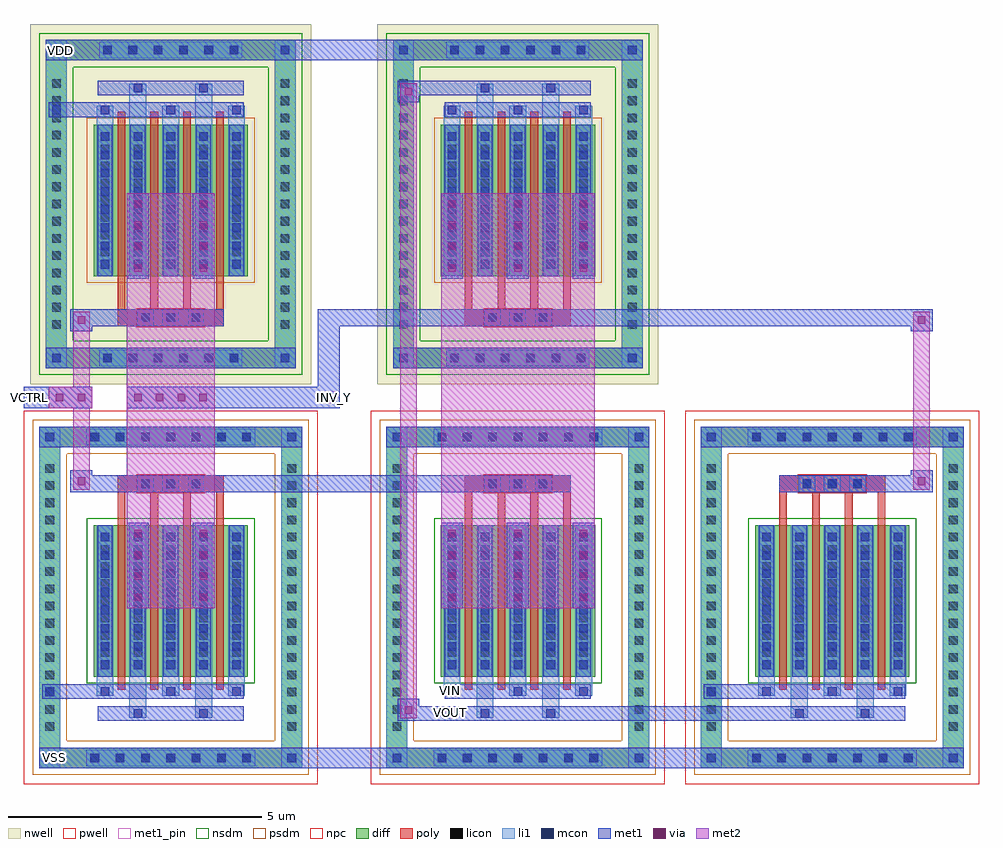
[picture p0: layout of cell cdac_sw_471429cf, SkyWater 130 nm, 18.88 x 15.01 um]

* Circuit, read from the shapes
.subckt cdac_sw_471429cf INV_Y VCTRL VDD VIN VOUT VSS
XM1 INV_Y VCTRL VSS VSUBS sky130_fd_pr__nfet_01v8 w=3 l=0.15 m=4
XM2 VOUT VCTRL VIN VSUBS sky130_fd_pr__nfet_01v8 w=3 l=0.15 m=4
XM3 VOUT INV_Y VSS VSUBS sky130_fd_pr__nfet_01v8 w=3 l=0.15 m=4
XM4 INV_Y VCTRL VDD n1 sky130_fd_pr__pfet_01v8 w=3 l=0.15 m=4
XM5 VOUT INV_Y VIN n2 sky130_fd_pr__pfet_01v8 w=3 l=0.15 m=4
.ends

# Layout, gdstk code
import gdstk
lib = gdstk.Library(unit=1e-6, precision=5e-09)
def R(c, l, rs):  # rectangles x0, y0, x1, y1
    for r in rs: c.add(gdstk.rectangle(r[:2], r[2:], *l))
def A(c, l, x, y, w, h, nx, ny, dx, dy):  # array of equal rectangles
    R(c, l, [(x+i*dx, y+j*dy, x+i*dx+w, y+j*dy+h) for i in range(nx) for j in range(ny)])
def P(c, l, *ps):  # polygons
    for p in ps: c.add(gdstk.Polygon(p, *l))
nwell = (64, 20)
pwell = (64, 44)
diff = (65, 20)
poly = (66, 20)
licon = (66, 44)
li1 = (67, 20)
mcon = (67, 44)
met1_pin = (68, 16)
met1 = (68, 20)
via = (68, 44)
met2 = (69, 20)
nsdm = (93, 44)
psdm = (94, 20)
npc = (95, 20)

cdac_sw_471429cf = lib.new_cell('cdac_sw_471429cf')
R(cdac_sw_471429cf, nwell, [(-2.99,0.395,2.56,7.505), (3.865,0.395,9.415,7.505)])
R(cdac_sw_471429cf, pwell, [(-3.12,-7.505,2.69,-0.135), (3.735,-7.505,9.545,-0.135), (9.945,-7.505,15.755,-0.135)])
A(cdac_sw_471429cf, diff, -1.92, -7.195, 0.41, 0.41, 7, 2, 0.5, 6.34)
A(cdac_sw_471429cf, diff, 4.935, -7.195, 0.41, 0.41, 7, 2, 0.5, 6.34)
A(cdac_sw_471429cf, diff, 11.145, -7.195, 0.41, 0.41, 7, 2, 0.5, 6.34)
A(cdac_sw_471429cf, diff, -2.81, -6.575, 0.41, 0.41, 1, 16, 0, 0.34)
A(cdac_sw_471429cf, diff, 1.97, -6.575, 0.41, 0.41, 1, 16, 0, 0.34)
A(cdac_sw_471429cf, diff, 4.045, -6.575, 0.41, 0.41, 1, 16, 0, 0.34)
A(cdac_sw_471429cf, diff, 8.825, -6.575, 0.41, 0.41, 1, 16, 0, 0.34)
A(cdac_sw_471429cf, diff, 10.255, -6.575, 0.41, 0.41, 1, 16, 0, 0.34)
A(cdac_sw_471429cf, diff, 15.035, -6.575, 0.41, 0.41, 1, 16, 0, 0.34)
A(cdac_sw_471429cf, diff, -1.67, 0.705, 0.41, 0.41, 6, 2, 0.5, 6.08)
A(cdac_sw_471429cf, diff, 5.185, 0.705, 0.41, 0.41, 6, 2, 0.5, 6.08)
A(cdac_sw_471429cf, diff, -2.68, 1.365, 0.41, 0.41, 1, 15, 0, 0.34)
A(cdac_sw_471429cf, diff, 1.84, 1.365, 0.41, 0.41, 1, 15, 0, 0.34)
A(cdac_sw_471429cf, diff, 4.175, 1.365, 0.41, 0.41, 1, 15, 0, 0.34)
A(cdac_sw_471429cf, diff, 8.695, 1.365, 0.41, 0.41, 1, 15, 0, 0.34)
R(cdac_sw_471429cf, diff, [(-1.92,-7.195,1.49,-6.785), (4.935,-7.195,8.345,-6.785), (11.145,-7.195,14.555,-6.785), (-2.81,-6.575,-2.4,-1.065), (1.97,-6.575,2.38,-1.065), (4.045,-6.575,4.455,-1.065), (8.825,-6.575,9.235,-1.065), (10.255,-6.575,10.665,-1.065), (15.035,-6.575,15.445,-1.065), (-1.74,-5.39,1.31,-2.39), (5.115,-5.39,8.165,-2.39), (11.325,-5.39,14.375,-2.39), (-1.92,-0.855,1.49,-0.445), (4.935,-0.855,8.345,-0.445), (11.145,-0.855,14.555,-0.445), (-1.67,0.705,1.24,1.115), (5.185,0.705,8.095,1.115), (-2.68,1.365,-2.27,6.535), (1.84,1.365,2.25,6.535), (4.175,1.365,4.585,6.535), (8.695,1.365,9.105,6.535), (-1.74,2.52,1.31,5.52), (5.115,2.52,8.165,5.52), (-1.67,6.785,1.24,7.195), (5.185,6.785,8.095,7.195)])
P(cdac_sw_471429cf, diff, [(2.25,7.195),(-2.68,7.195),(-2.68,1.115),(-2.27,1.115),(-2.27,6.785),(1.84,6.785),(1.84,1.115),(-2.27,1.115),(-2.68,1.115),(-2.68,0.705),(2.25,0.705)],
  [(2.38,-7.195),(-2.81,-7.195),(-2.81,-0.855),(-2.4,-0.855),(-2.4,-6.785),(1.97,-6.785),(1.97,-0.855),(-2.4,-0.855),(-2.81,-0.855),(-2.81,-0.445),(2.38,-0.445)],
  [(15.445,-7.195),(10.255,-7.195),(10.255,-0.855),(10.665,-0.855),(10.665,-6.785),(15.035,-6.785),(15.035,-0.855),(10.665,-0.855),(10.255,-0.855),(10.255,-0.445),(15.445,-0.445)],
  [(9.105,7.195),(4.175,7.195),(4.175,1.115),(4.585,1.115),(4.585,6.785),(8.695,6.785),(8.695,1.115),(4.585,1.115),(4.175,1.115),(4.175,0.705),(9.105,0.705)],
  [(9.235,-7.195),(4.045,-7.195),(4.045,-0.855),(4.455,-0.855),(4.455,-6.785),(8.825,-6.785),(8.825,-0.855),(4.455,-0.855),(4.045,-0.855),(4.045,-0.445),(9.235,-0.445)])
A(cdac_sw_471429cf, poly, -1.265, -5.64, 0.15, 3.5, 4, 2, 0.65, 7.91)
A(cdac_sw_471429cf, poly, 5.59, -5.64, 0.15, 3.5, 4, 2, 0.65, 7.91)
A(cdac_sw_471429cf, poly, 11.8, -5.64, 0.15, 3.5, 4, 1, 0.65, 0)
A(cdac_sw_471429cf, poly, -1.265, -2.14, 0.15, 0.4, 4, 2, 0.65, 4.01)
A(cdac_sw_471429cf, poly, 5.59, -2.14, 0.15, 0.4, 4, 2, 0.65, 4.01)
A(cdac_sw_471429cf, poly, 11.8, -2.14, 0.15, 0.4, 4, 1, 0.65, 0)
A(cdac_sw_471429cf, poly, -0.88, -1.74, 0.33, 0.33, 3, 2, 0.5, 3.28)
A(cdac_sw_471429cf, poly, 5.975, -1.74, 0.33, 0.33, 3, 2, 0.5, 3.28)
A(cdac_sw_471429cf, poly, 12.185, -1.74, 0.33, 0.33, 3, 1, 0.5, 0)
R(cdac_sw_471429cf, poly, [(-1.265,-1.74,0.835,-1.41), (5.59,-1.74,7.69,-1.41), (11.8,-1.74,13.9,-1.41), (-1.265,1.54,0.835,1.87), (5.59,1.54,7.69,1.87)])
A(cdac_sw_471429cf, licon, -1.8, -7.075, 0.17, 0.17, 7, 2, 0.5, 6.34)
A(cdac_sw_471429cf, licon, 5.055, -7.075, 0.17, 0.17, 7, 2, 0.5, 6.34)
A(cdac_sw_471429cf, licon, 11.265, -7.075, 0.17, 0.17, 7, 2, 0.5, 6.34)
A(cdac_sw_471429cf, licon, -2.69, -6.455, 0.17, 0.17, 1, 16, 0, 0.34)
A(cdac_sw_471429cf, licon, 2.09, -6.455, 0.17, 0.17, 1, 16, 0, 0.34)
A(cdac_sw_471429cf, licon, 4.165, -6.455, 0.17, 0.17, 1, 16, 0, 0.34)
A(cdac_sw_471429cf, licon, 8.945, -6.455, 0.17, 0.17, 1, 16, 0, 0.34)
A(cdac_sw_471429cf, licon, 10.375, -6.455, 0.17, 0.17, 1, 16, 0, 0.34)
A(cdac_sw_471429cf, licon, 15.155, -6.455, 0.17, 0.17, 1, 16, 0, 0.34)
A(cdac_sw_471429cf, licon, -1.6, -4.995, 0.17, 0.17, 5, 7, 0.65, 0.34)
A(cdac_sw_471429cf, licon, 5.255, -4.995, 0.17, 0.17, 5, 7, 0.65, 0.34)
A(cdac_sw_471429cf, licon, 11.465, -4.995, 0.17, 0.17, 5, 7, 0.65, 0.34)
A(cdac_sw_471429cf, licon, -0.8, -1.66, 0.17, 0.17, 3, 2, 0.5, 3.28)
A(cdac_sw_471429cf, licon, 6.055, -1.66, 0.17, 0.17, 3, 2, 0.5, 3.28)
A(cdac_sw_471429cf, licon, 12.265, -1.66, 0.17, 0.17, 3, 1, 0.5, 0)
A(cdac_sw_471429cf, licon, -1.55, 0.825, 0.17, 0.17, 6, 2, 0.5, 6.08)
A(cdac_sw_471429cf, licon, 5.305, 0.825, 0.17, 0.17, 6, 2, 0.5, 6.08)
A(cdac_sw_471429cf, licon, -2.56, 1.485, 0.17, 0.17, 1, 15, 0, 0.34)
A(cdac_sw_471429cf, licon, 1.96, 1.485, 0.17, 0.17, 1, 15, 0, 0.34)
A(cdac_sw_471429cf, licon, 4.295, 1.485, 0.17, 0.17, 1, 15, 0, 0.34)
A(cdac_sw_471429cf, licon, 8.815, 1.485, 0.17, 0.17, 1, 15, 0, 0.34)
A(cdac_sw_471429cf, licon, -1.6, 2.915, 0.17, 0.17, 5, 7, 0.65, 0.34)
A(cdac_sw_471429cf, licon, 5.255, 2.915, 0.17, 0.17, 5, 7, 0.65, 0.34)
A(cdac_sw_471429cf, li1, -1.88, -7.155, 0.33, 0.33, 7, 2, 0.5, 6.34)
A(cdac_sw_471429cf, li1, 4.975, -7.155, 0.33, 0.33, 7, 2, 0.5, 6.34)
A(cdac_sw_471429cf, li1, 11.185, -7.155, 0.33, 0.33, 7, 2, 0.5, 6.34)
A(cdac_sw_471429cf, li1, -2.77, -6.535, 0.33, 0.33, 1, 16, 0, 0.34)
A(cdac_sw_471429cf, li1, 2.01, -6.535, 0.33, 0.33, 1, 16, 0, 0.34)
A(cdac_sw_471429cf, li1, 4.085, -6.535, 0.33, 0.33, 1, 16, 0, 0.34)
A(cdac_sw_471429cf, li1, 8.865, -6.535, 0.33, 0.33, 1, 16, 0, 0.34)
A(cdac_sw_471429cf, li1, 10.295, -6.535, 0.33, 0.33, 1, 16, 0, 0.34)
A(cdac_sw_471429cf, li1, 15.075, -6.535, 0.33, 0.33, 1, 16, 0, 0.34)
A(cdac_sw_471429cf, li1, -1.68, -5.765, 0.33, 0.375, 3, 2, 1.3, 11.285)
A(cdac_sw_471429cf, li1, -1.6, -5.765, 0.17, 0.17, 3, 2, 1.3, 11.49)
A(cdac_sw_471429cf, li1, 5.175, -5.765, 0.33, 0.375, 3, 2, 1.3, 11.285)
A(cdac_sw_471429cf, li1, 5.255, -5.765, 0.17, 0.17, 3, 2, 1.3, 11.49)
A(cdac_sw_471429cf, li1, 11.385, -5.765, 0.33, 0.375, 3, 1, 1.3, 0)
A(cdac_sw_471429cf, li1, 11.465, -5.765, 0.17, 0.17, 3, 1, 1.3, 0)
A(cdac_sw_471429cf, li1, -1.68, -5.39, 0.33, 3, 5, 2, 0.65, 7.91)
A(cdac_sw_471429cf, li1, 5.175, -5.39, 0.33, 3, 5, 2, 0.65, 7.91)
A(cdac_sw_471429cf, li1, 11.385, -5.39, 0.33, 3, 5, 1, 0.65, 0)
A(cdac_sw_471429cf, li1, -1.6, -5.235, 0.17, 0.17, 5, 8, 0.65, 0.36)
A(cdac_sw_471429cf, li1, -1.6, -5.235, 0.17, 2.69, 5, 2, 0.65, 7.91)
A(cdac_sw_471429cf, li1, 5.255, -5.235, 0.17, 0.17, 5, 8, 0.65, 0.36)
A(cdac_sw_471429cf, li1, 5.255, -5.235, 0.17, 2.69, 5, 2, 0.65, 7.91)
A(cdac_sw_471429cf, li1, 11.465, -5.235, 0.17, 0.17, 5, 8, 0.65, 0.36)
A(cdac_sw_471429cf, li1, 11.465, -5.235, 0.17, 2.69, 5, 1, 0.65, 0)
A(cdac_sw_471429cf, li1, -1.68, -5.075, 0.33, 0.33, 5, 7, 0.65, 0.34)
A(cdac_sw_471429cf, li1, 5.175, -5.075, 0.33, 0.33, 5, 7, 0.65, 0.34)
A(cdac_sw_471429cf, li1, 11.385, -5.075, 0.33, 0.33, 5, 7, 0.65, 0.34)
A(cdac_sw_471429cf, li1, -0.88, -1.74, 0.33, 0.33, 3, 2, 0.5, 3.28)
A(cdac_sw_471429cf, li1, 5.975, -1.74, 0.33, 0.33, 3, 2, 0.5, 3.28)
A(cdac_sw_471429cf, li1, 12.185, -1.74, 0.33, 0.33, 3, 1, 0.5, 0)
A(cdac_sw_471429cf, li1, -1.63, 0.745, 0.33, 0.33, 6, 2, 0.5, 6.08)
A(cdac_sw_471429cf, li1, 5.225, 0.745, 0.33, 0.33, 6, 2, 0.5, 6.08)
A(cdac_sw_471429cf, li1, -2.64, 1.405, 0.33, 0.33, 1, 15, 0, 0.34)
A(cdac_sw_471429cf, li1, 1.88, 1.405, 0.33, 0.33, 1, 15, 0, 0.34)
A(cdac_sw_471429cf, li1, 4.215, 1.405, 0.33, 0.33, 1, 15, 0, 0.34)
A(cdac_sw_471429cf, li1, 8.735, 1.405, 0.33, 0.33, 1, 15, 0, 0.34)
A(cdac_sw_471429cf, li1, -1.6, 2.675, 0.17, 0.17, 5, 8, 0.65, 0.36)
A(cdac_sw_471429cf, li1, 5.255, 2.675, 0.17, 0.17, 5, 8, 0.65, 0.36)
A(cdac_sw_471429cf, li1, -1.68, 2.835, 0.33, 0.33, 5, 7, 0.65, 0.34)
A(cdac_sw_471429cf, li1, 5.175, 2.835, 0.33, 0.33, 5, 7, 0.65, 0.34)
R(cdac_sw_471429cf, li1, [(-2.81,-7.195,-2.4,-6.785), (1.97,-7.195,2.38,-6.785), (4.045,-7.195,4.455,-6.785), (8.825,-7.195,9.235,-6.785), (10.255,-7.195,10.665,-6.785), (15.035,-7.195,15.445,-6.785), (-1.88,-7.155,1.45,-6.825), (4.975,-7.155,8.305,-6.825), (11.185,-7.155,14.515,-6.825), (-2.69,-7.075,-2.52,-6.905), (-2.69,-7.075,-2.52,-6.905), (2.09,-7.075,2.26,-6.905), (2.09,-7.075,2.26,-6.905), (4.165,-7.075,4.335,-6.905), (4.165,-7.075,4.335,-6.905), (8.945,-7.075,9.115,-6.905), (8.945,-7.075,9.115,-6.905), (10.375,-7.075,10.545,-6.905), (10.375,-7.075,10.545,-6.905), (15.155,-7.075,15.325,-6.905), (15.155,-7.075,15.325,-6.905), (-2.81,-6.785,-2.4,-0.855), (1.97,-6.785,2.38,-0.855), (4.045,-6.785,4.455,-0.855), (8.825,-6.785,9.235,-0.855), (10.255,-6.785,10.665,-0.855), (15.035,-6.785,15.445,-0.855), (-1.03,-6.195,-0.7,-5.39), (-0.95,-6.195,-0.78,-6.025), (0.27,-6.195,0.6,-5.39), (0.35,-6.195,0.52,-6.025), (5.825,-6.195,6.155,-5.39), (5.905,-6.195,6.075,-6.025), (7.125,-6.195,7.455,-5.39), (7.205,-6.195,7.375,-6.025), (12.035,-6.195,12.365,-5.39), (12.115,-6.195,12.285,-6.025), (13.335,-6.195,13.665,-5.39), (13.415,-6.195,13.585,-6.025), (-2.69,-5.765,-2.52,-5.595), (10.375,-5.765,10.545,-5.595), (-2.81,-0.855,-2.4,-0.445), (1.97,-0.855,2.38,-0.445), (4.045,-0.855,4.455,-0.445), (8.825,-0.855,9.235,-0.445), (10.255,-0.855,10.665,-0.445), (15.035,-0.855,15.445,-0.445), (-1.88,-0.815,1.45,-0.485), (4.975,-0.815,8.305,-0.485), (11.185,-0.815,14.515,-0.485), (-2.69,-0.735,-2.52,-0.565), (-2.69,-0.735,-2.52,-0.565), (2.09,-0.735,2.26,-0.565), (2.09,-0.735,2.26,-0.565), (4.165,-0.735,4.335,-0.565), (4.165,-0.735,4.335,-0.565), (8.945,-0.735,9.115,-0.565), (8.945,-0.735,9.115,-0.565), (10.375,-0.735,10.545,-0.565), (10.375,-0.735,10.545,-0.565), (15.155,-0.735,15.325,-0.565), (15.155,-0.735,15.325,-0.565), (-2.68,0.705,-2.27,1.115), (1.84,0.705,2.25,1.115), (4.175,0.705,4.585,1.115), (8.695,0.705,9.105,1.115), (-1.63,0.745,1.2,1.075), (5.225,0.745,8.055,1.075), (-2.56,0.825,-2.39,0.995), (-2.56,0.825,-2.39,0.995), (1.96,0.825,2.13,0.995), (1.96,0.825,2.13,0.995), (4.295,0.825,4.465,0.995), (4.295,0.825,4.465,0.995), (8.815,0.825,8.985,0.995), (8.815,0.825,8.985,0.995), (-2.68,1.115,-2.27,6.785), (1.84,1.115,2.25,6.785), (4.175,1.115,4.585,6.785), (8.695,1.115,9.105,6.785), (-1.03,5.52,-0.7,6.325), (0.27,5.52,0.6,6.325), (5.825,5.52,6.155,6.325), (7.125,5.52,7.455,6.325), (-2.56,5.725,-2.39,5.895), (-0.95,6.155,-0.78,6.325), (0.35,6.155,0.52,6.325), (5.905,6.155,6.075,6.325), (7.205,6.155,7.375,6.325), (-2.68,6.785,-2.27,7.195), (1.84,6.785,2.25,7.195), (4.175,6.785,4.585,7.195), (8.695,6.785,9.105,7.195), (-1.63,6.825,1.2,7.155), (5.225,6.825,8.055,7.155), (-2.56,6.905,-2.39,7.075), (-2.56,6.905,-2.39,7.075), (1.96,6.905,2.13,7.075), (1.96,6.905,2.13,7.075), (4.295,6.905,4.465,7.075), (4.295,6.905,4.465,7.075), (8.815,6.905,8.985,7.075), (8.815,6.905,8.985,7.075)])
A(cdac_sw_471429cf, mcon, -1.8, -7.075, 0.17, 0.17, 7, 2, 0.5, 6.34)
A(cdac_sw_471429cf, mcon, 5.055, -7.075, 0.17, 0.17, 7, 2, 0.5, 6.34)
A(cdac_sw_471429cf, mcon, 11.265, -7.075, 0.17, 0.17, 7, 2, 0.5, 6.34)
A(cdac_sw_471429cf, mcon, -1.6, -5.765, 0.17, 0.17, 3, 2, 1.3, 11.49)
A(cdac_sw_471429cf, mcon, 5.255, -5.765, 0.17, 0.17, 3, 2, 1.3, 11.49)
A(cdac_sw_471429cf, mcon, 11.465, -5.765, 0.17, 0.17, 3, 1, 1.3, 0)
A(cdac_sw_471429cf, mcon, -1.6, -5.235, 0.17, 0.17, 5, 8, 0.65, 0.36)
A(cdac_sw_471429cf, mcon, 5.255, -5.235, 0.17, 0.17, 5, 8, 0.65, 0.36)
A(cdac_sw_471429cf, mcon, 11.465, -5.235, 0.17, 0.17, 5, 8, 0.65, 0.36)
A(cdac_sw_471429cf, mcon, -0.8, -1.66, 0.17, 0.17, 3, 2, 0.5, 3.28)
A(cdac_sw_471429cf, mcon, 6.055, -1.66, 0.17, 0.17, 3, 2, 0.5, 3.28)
A(cdac_sw_471429cf, mcon, 12.265, -1.66, 0.17, 0.17, 3, 1, 0.5, 0)
A(cdac_sw_471429cf, mcon, -1.55, 0.825, 0.17, 0.17, 6, 2, 0.5, 6.08)
A(cdac_sw_471429cf, mcon, 5.305, 0.825, 0.17, 0.17, 6, 2, 0.5, 6.08)
A(cdac_sw_471429cf, mcon, -1.6, 2.675, 0.17, 0.17, 5, 8, 0.65, 0.36)
A(cdac_sw_471429cf, mcon, 5.255, 2.675, 0.17, 0.17, 5, 8, 0.65, 0.36)
R(cdac_sw_471429cf, mcon, [(-2.69,-7.075,-2.52,-6.905), (2.09,-7.075,2.26,-6.905), (4.165,-7.075,4.335,-6.905), (8.945,-7.075,9.115,-6.905), (10.375,-7.075,10.545,-6.905), (15.155,-7.075,15.325,-6.905), (-0.95,-6.195,-0.78,-6.025), (0.35,-6.195,0.52,-6.025), (5.905,-6.195,6.075,-6.025), (7.205,-6.195,7.375,-6.025), (12.115,-6.195,12.285,-6.025), (13.415,-6.195,13.585,-6.025), (-2.69,-5.765,-2.52,-5.595), (10.375,-5.765,10.545,-5.595), (-2.69,-0.735,-2.52,-0.565), (2.09,-0.735,2.26,-0.565), (4.165,-0.735,4.335,-0.565), (8.945,-0.735,9.115,-0.565), (10.375,-0.735,10.545,-0.565), (15.155,-0.735,15.325,-0.565), (-2.56,0.825,-2.39,0.995), (1.96,0.825,2.13,0.995), (4.295,0.825,4.465,0.995), (8.815,0.825,8.985,0.995), (-2.56,5.725,-2.39,5.895), (-0.95,6.155,-0.78,6.325), (0.35,6.155,0.52,6.325), (5.905,6.155,6.075,6.325), (7.205,6.155,7.375,6.325), (-2.56,6.905,-2.39,7.075), (1.96,6.905,2.13,7.075), (4.295,6.905,4.465,7.075), (8.815,6.905,8.985,7.075)])
R(cdac_sw_471429cf, met1_pin, [(-2.64,-7.11,-2.4,-6.87), (5.195,-6.205,5.435,-5.965), (5.195,-5.775,5.435,-5.535), (-3.12,0.01,-2.88,0.25), (2.88,0.01,3.12,0.25), (-2.51,6.87,-2.27,7.11)])
A(cdac_sw_471429cf, met1, -1.86, -7.135, 0.29, 0.29, 7, 2, 0.5, 6.34)
A(cdac_sw_471429cf, met1, 4.995, -7.135, 0.29, 0.29, 7, 2, 0.5, 6.34)
A(cdac_sw_471429cf, met1, 11.205, -7.135, 0.29, 0.29, 7, 2, 0.5, 6.34)
A(cdac_sw_471429cf, met1, -1.66, -5.825, 0.29, 0.29, 3, 2, 1.3, 11.49)
A(cdac_sw_471429cf, met1, 5.195, -5.825, 0.29, 0.29, 3, 2, 1.3, 11.49)
A(cdac_sw_471429cf, met1, 11.405, -5.825, 0.29, 0.29, 3, 1, 1.3, 0)
A(cdac_sw_471429cf, met1, -1.66, -5.39, 0.29, 3, 5, 2, 0.65, 7.91)
A(cdac_sw_471429cf, met1, 5.195, -5.39, 0.29, 3, 5, 2, 0.65, 7.91)
A(cdac_sw_471429cf, met1, 11.405, -5.39, 0.29, 3, 5, 1, 0.65, 0)
A(cdac_sw_471429cf, met1, -1.66, -5.295, 0.29, 0.29, 5, 8, 0.65, 0.36)
A(cdac_sw_471429cf, met1, 5.195, -5.295, 0.29, 0.29, 5, 8, 0.65, 0.36)
A(cdac_sw_471429cf, met1, 11.405, -5.295, 0.29, 0.29, 5, 8, 0.65, 0.36)
A(cdac_sw_471429cf, met1, -0.86, -1.72, 0.29, 0.29, 3, 2, 0.5, 3.28)
A(cdac_sw_471429cf, met1, 5.995, -1.72, 0.29, 0.29, 3, 2, 0.5, 3.28)
A(cdac_sw_471429cf, met1, 12.205, -1.72, 0.29, 0.29, 3, 1, 0.5, 0)
A(cdac_sw_471429cf, met1, -1.61, 0.765, 0.29, 0.29, 6, 2, 0.5, 6.08)
A(cdac_sw_471429cf, met1, 5.245, 0.765, 0.29, 0.29, 6, 2, 0.5, 6.08)
A(cdac_sw_471429cf, met1, -1.66, 2.615, 0.29, 0.29, 5, 8, 0.65, 0.36)
A(cdac_sw_471429cf, met1, 5.195, 2.615, 0.29, 0.29, 5, 8, 0.65, 0.36)
R(cdac_sw_471429cf, met1, [(-2.81,-7.195,-2.4,-6.785), (-2.81,-7.195,-2.4,-6.785), (-2.4,-7.195,1.97,-6.785), (-2.4,-7.195,4.455,-6.785), (1.97,-7.195,2.38,-6.785), (1.97,-7.195,2.38,-6.785), (4.045,-7.195,4.455,-6.785), (4.045,-7.195,4.455,-6.785), (4.455,-7.195,8.825,-6.785), (4.455,-7.195,10.665,-6.785), (8.825,-7.195,9.235,-6.785), (8.825,-7.195,9.235,-6.785), (10.255,-7.195,10.665,-6.785), (10.255,-7.195,10.665,-6.785), (10.665,-7.195,15.035,-6.785), (15.035,-7.195,15.445,-6.785), (15.035,-7.195,15.445,-6.785), (-2.75,-7.135,-2.46,-6.845), (2.03,-7.135,2.32,-6.845), (4.105,-7.135,4.395,-6.845), (8.885,-7.135,9.175,-6.845), (10.315,-7.135,10.605,-6.845), (15.095,-7.135,15.385,-6.845), (-1.66,-6.255,1.23,-5.965), (-1.01,-6.255,-0.72,-5.965), (0.29,-6.255,0.58,-5.965), (4.265,-6.255,4.695,-5.825), (4.265,-6.255,5.195,-5.965), (5.195,-6.255,8.085,-5.965), (5.845,-6.255,6.135,-5.965), (7.145,-6.255,7.435,-5.965), (8.085,-6.255,14.295,-5.965), (11.405,-6.255,14.295,-5.965), (12.055,-6.255,12.345,-5.965), (13.355,-6.255,13.645,-5.965), (-2.75,-5.825,-2.46,-5.535), (-2.605,-5.825,-1.66,-5.535), (-1.66,-5.825,1.23,-5.535), (5.195,-5.825,8.085,-5.535), (10.315,-5.825,10.605,-5.535), (10.46,-5.825,11.405,-5.535), (11.405,-5.825,14.295,-5.535), (-1.08,-4.035,-0.65,-3.605), (-1.08,-4.035,-0.65,-3.605), (0.22,-4.035,0.65,-3.605), (0.22,-4.035,0.65,-3.605), (5.125,-4.035,5.555,-3.605), (5.125,-4.035,5.555,-3.605), (6.425,-4.035,6.855,-3.605), (6.425,-4.035,6.855,-3.605), (7.725,-4.035,8.155,-3.605), (7.725,-4.035,8.155,-3.605), (-1.08,-3.615,-0.65,-3.185), (-1.08,-3.615,-0.65,-3.185), (0.22,-3.615,0.65,-3.185), (0.22,-3.615,0.65,-3.185), (5.125,-3.615,5.555,-3.185), (5.125,-3.615,5.555,-3.185), (6.425,-3.615,6.855,-3.185), (6.425,-3.615,6.855,-3.185), (7.725,-3.615,8.155,-3.185), (7.725,-3.615,8.155,-3.185), (-1.08,-3.195,-0.65,-2.765), (-1.08,-3.195,-0.65,-2.765), (0.22,-3.195,0.65,-2.765), (0.22,-3.195,0.65,-2.765), (5.125,-3.195,5.555,-2.765), (5.125,-3.195,5.555,-2.765), (6.425,-3.195,6.855,-2.765), (6.425,-3.195,6.855,-2.765), (7.725,-3.195,8.155,-2.765), (7.725,-3.195,8.155,-2.765), (-1.08,-2.775,-0.65,-2.345), (-1.08,-2.775,-0.65,-2.345), (0.22,-2.775,0.65,-2.345), (0.22,-2.775,0.65,-2.345), (5.125,-2.775,5.555,-2.345), (5.125,-2.775,5.555,-2.345), (6.425,-2.775,6.855,-2.345), (6.425,-2.775,6.855,-2.345), (7.725,-2.775,8.155,-2.345), (7.725,-2.775,8.155,-2.345), (-2.195,-1.74,-1.765,-1.31), (-2.195,-1.74,-1.265,-1.41), (-1.265,-1.74,0.835,-1.41), (0.835,-1.74,5.59,-1.41), (5.59,-1.74,7.69,-1.41), (11.8,-1.74,13.9,-1.41), (13.9,-1.74,14.83,-1.41), (14.4,-1.74,14.83,-1.31), (-2.81,-0.855,-2.4,-0.445), (-2.81,-0.855,-2.4,-0.445), (-2.4,-0.855,1.97,-0.445), (1.97,-0.855,2.38,-0.445), (1.97,-0.855,2.38,-0.445), (4.045,-0.855,4.455,-0.445), (4.045,-0.855,4.455,-0.445), (4.455,-0.855,8.825,-0.445), (8.825,-0.855,9.235,-0.445), (8.825,-0.855,9.235,-0.445), (10.255,-0.855,10.665,-0.445), (10.255,-0.855,10.665,-0.445), (10.665,-0.855,15.035,-0.445), (15.035,-0.855,15.445,-0.445), (15.035,-0.855,15.445,-0.445), (-2.75,-0.795,-2.46,-0.505), (2.03,-0.795,2.32,-0.505), (4.105,-0.795,4.395,-0.505), (8.885,-0.795,9.175,-0.505), (10.315,-0.795,10.605,-0.505), (15.095,-0.795,15.385,-0.505), (-3.12,-0.085,-2.195,0.345), (-2.625,-0.085,-2.195,0.345), (-2.625,-0.085,-2.195,0.345), (-2.195,-0.085,-1.765,0.345), (-2.195,-0.085,-1.765,0.345), (-1.08,-0.085,-0.65,0.345), (-1.08,-0.085,-0.65,0.345), (-1.08,-0.085,3.12,0.345), (-0.65,-0.085,-0.22,0.345), (-0.65,-0.085,-0.22,0.345), (-0.22,-0.085,0.21,0.345), (-0.22,-0.085,0.21,0.345), (0.21,-0.085,0.64,0.345), (0.21,-0.085,0.64,0.345), (2.69,0.13,3.12,1.87), (-2.68,0.705,-2.27,1.115), (-2.68,0.705,-2.27,1.115), (-2.27,0.705,1.84,1.115), (1.84,0.705,2.25,1.115), (1.84,0.705,2.25,1.115), (4.175,0.705,4.585,1.115), (4.175,0.705,4.585,1.115), (4.585,0.705,8.695,1.115), (8.695,0.705,9.105,1.115), (8.695,0.705,9.105,1.115), (-2.62,0.765,-2.33,1.055), (1.9,0.765,2.19,1.055), (4.235,0.765,4.525,1.055), (8.755,0.765,9.045,1.055), (-2.195,1.44,-1.765,1.87), (14.4,1.44,14.83,1.87), (-2.195,1.54,-1.265,1.87), (-1.265,1.54,0.835,1.87), (2.69,1.54,5.59,1.87), (5.59,1.54,7.69,1.87), (7.69,1.54,14.83,1.87), (-1.08,2.475,-0.65,2.905), (-1.08,2.475,-0.65,2.905), (0.22,2.475,0.65,2.905), (0.22,2.475,0.65,2.905), (5.125,2.475,5.555,2.905), (5.125,2.475,5.555,2.905), (6.425,2.475,6.855,2.905), (6.425,2.475,6.855,2.905), (7.725,2.475,8.155,2.905), (7.725,2.475,8.155,2.905), (-1.08,2.895,-0.65,3.325), (-1.08,2.895,-0.65,3.325), (0.22,2.895,0.65,3.325), (0.22,2.895,0.65,3.325), (5.125,2.895,5.555,3.325), (5.125,2.895,5.555,3.325), (6.425,2.895,6.855,3.325), (6.425,2.895,6.855,3.325), (7.725,2.895,8.155,3.325), (7.725,2.895,8.155,3.325), (-1.08,3.315,-0.65,3.745), (-1.08,3.315,-0.65,3.745), (0.22,3.315,0.65,3.745), (0.22,3.315,0.65,3.745), (5.125,3.315,5.555,3.745), (5.125,3.315,5.555,3.745), (6.425,3.315,6.855,3.745), (6.425,3.315,6.855,3.745), (7.725,3.315,8.155,3.745), (7.725,3.315,8.155,3.745), (-1.08,3.735,-0.65,4.165), (-1.08,3.735,-0.65,4.165), (0.22,3.735,0.65,4.165), (0.22,3.735,0.65,4.165), (5.125,3.735,5.555,4.165), (5.125,3.735,5.555,4.165), (6.425,3.735,6.855,4.165), (6.425,3.735,6.855,4.165), (7.725,3.735,8.155,4.165), (7.725,3.735,8.155,4.165), (-2.62,5.665,-2.33,5.955), (-2.475,5.665,-1.66,5.955), (-1.66,5.665,1.23,5.955), (5.195,5.665,8.085,5.955), (4.265,5.955,4.695,6.385), (-1.66,6.095,1.23,6.385), (-1.01,6.095,-0.72,6.385), (0.29,6.095,0.58,6.385), (4.265,6.095,5.195,6.385), (5.195,6.095,8.085,6.385), (5.845,6.095,6.135,6.385), (7.145,6.095,7.435,6.385), (-2.68,6.785,-2.27,7.195), (-2.68,6.785,-2.27,7.195), (-2.27,6.785,1.84,7.195), (-2.27,6.785,4.585,7.195), (1.84,6.785,2.25,7.195), (1.84,6.785,2.25,7.195), (4.175,6.785,4.585,7.195), (4.175,6.785,4.585,7.195), (4.585,6.785,8.695,7.195), (8.695,6.785,9.105,7.195), (8.695,6.785,9.105,7.195), (-2.62,6.845,-2.33,7.135), (1.9,6.845,2.19,7.135), (4.235,6.845,4.525,7.135), (8.755,6.845,9.045,7.135)])
A(cdac_sw_471429cf, via, -0.94, -3.895, 0.15, 0.15, 1, 4, 0, 0.42)
A(cdac_sw_471429cf, via, 0.36, -3.895, 0.15, 0.15, 1, 4, 0, 0.42)
A(cdac_sw_471429cf, via, 5.265, -3.895, 0.15, 0.15, 3, 4, 1.3, 0.42)
A(cdac_sw_471429cf, via, -0.94, 0.055, 0.15, 0.15, 4, 1, 0.43, 0)
A(cdac_sw_471429cf, via, -0.94, 2.615, 0.15, 0.15, 1, 4, 0, 0.42)
A(cdac_sw_471429cf, via, 0.36, 2.615, 0.15, 0.15, 1, 4, 0, 0.42)
A(cdac_sw_471429cf, via, 5.265, 2.615, 0.15, 0.15, 3, 4, 1.3, 0.42)
R(cdac_sw_471429cf, via, [(4.405,-6.115,4.555,-5.965), (-2.055,-1.6,-1.905,-1.45), (14.54,-1.6,14.69,-1.45), (-2.485,0.055,-2.335,0.205), (-2.055,0.055,-1.905,0.205), (-2.055,1.58,-1.905,1.73), (14.54,1.58,14.69,1.73), (4.405,6.095,4.555,6.245)])
A(cdac_sw_471429cf, met2, -1.08, -4.035, 0.43, 0.43, 1, 4, 0, 0.42)
A(cdac_sw_471429cf, met2, 0.22, -4.035, 0.43, 0.43, 1, 4, 0, 0.42)
A(cdac_sw_471429cf, met2, 5.125, -4.035, 0.43, 0.43, 3, 4, 1.3, 0.42)
A(cdac_sw_471429cf, met2, -1.03, -3.985, 0.33, 0.33, 1, 4, 0, 0.42)
A(cdac_sw_471429cf, met2, 0.27, -3.985, 0.33, 0.33, 1, 4, 0, 0.42)
A(cdac_sw_471429cf, met2, 5.175, -3.985, 0.33, 0.33, 3, 4, 1.3, 0.42)
A(cdac_sw_471429cf, met2, -1.08, -0.085, 0.43, 0.43, 4, 1, 0.43, 0)
A(cdac_sw_471429cf, met2, -1.03, -0.035, 0.33, 0.33, 4, 1, 0.43, 0)
A(cdac_sw_471429cf, met2, -1.08, 2.475, 0.43, 0.43, 1, 4, 0, 0.42)
A(cdac_sw_471429cf, met2, 0.22, 2.475, 0.43, 0.43, 1, 4, 0, 0.42)
A(cdac_sw_471429cf, met2, 5.125, 2.475, 0.43, 0.43, 3, 4, 1.3, 0.42)
A(cdac_sw_471429cf, met2, -1.03, 2.525, 0.33, 0.33, 1, 4, 0, 0.42)
A(cdac_sw_471429cf, met2, 0.27, 2.525, 0.33, 0.33, 1, 4, 0, 0.42)
A(cdac_sw_471429cf, met2, 5.175, 2.525, 0.33, 0.33, 3, 4, 1.3, 0.42)
R(cdac_sw_471429cf, met2, [(4.315,-6.205,4.645,-5.875), (4.315,-6.205,4.645,6.335), (-1.08,-4.035,0.65,4.165), (5.125,-4.035,8.155,4.165), (-2.145,-1.69,-1.815,-1.36), (-2.145,-1.69,-1.815,1.82), (14.45,-1.69,14.78,-1.36), (14.45,-1.69,14.78,1.82), (-2.625,-0.085,-2.195,0.345), (-2.195,-0.085,-1.765,0.345), (-2.575,-0.035,-2.245,0.295), (-2.145,-0.035,-1.815,0.295), (-2.145,1.49,-1.815,1.82), (14.45,1.49,14.78,1.82), (4.315,6.005,4.645,6.335)])
P(cdac_sw_471429cf, met2, [(-1.815,-1.69),(-1.815,-1.69),(-1.815,-1.36),(-1.815,-1.36)],
  [(-1.815,1.49),(-1.815,1.49),(-1.815,1.82),(-1.815,1.82)],
  [(14.78,-1.69),(14.78,-1.69),(14.78,-1.36),(14.78,-1.36)],
  [(14.78,1.49),(14.78,1.49),(14.78,1.82),(14.78,1.82)],
  [(4.645,-6.205),(4.645,-6.205),(4.645,-5.875),(4.645,-5.875)],
  [(4.645,6.005),(4.645,6.005),(4.645,6.335),(4.645,6.335)])
R(cdac_sw_471429cf, nsdm, [(-1.87,-5.52,1.44,-2.26), (4.985,-5.52,8.295,-2.26), (11.195,-5.52,14.505,-2.26)])
P(cdac_sw_471429cf, nsdm, [(2.38,7.325),(-2.81,7.325),(-2.81,1.245),(-2.14,1.245),(-2.14,6.655),(1.71,6.655),(1.71,1.245),(-2.14,1.245),(-2.81,1.245),(-2.81,0.575),(2.38,0.575)],
  [(9.235,7.325),(4.045,7.325),(4.045,1.245),(4.715,1.245),(4.715,6.655),(8.565,6.655),(8.565,1.245),(4.715,1.245),(4.045,1.245),(4.045,0.575),(9.235,0.575)])
R(cdac_sw_471429cf, psdm, [(-1.87,2.39,1.44,5.65), (4.985,2.39,8.295,5.65)])
P(cdac_sw_471429cf, psdm, [(2.51,-7.325),(-2.94,-7.325),(-2.94,-0.985),(-2.27,-0.985),(-2.27,-6.655),(1.84,-6.655),(1.84,-0.985),(-2.27,-0.985),(-2.94,-0.985),(-2.94,-0.315),(2.51,-0.315)],
  [(15.575,-7.325),(10.125,-7.325),(10.125,-0.985),(10.795,-0.985),(10.795,-6.655),(14.905,-6.655),(14.905,-0.985),(10.795,-0.985),(10.125,-0.985),(10.125,-0.315),(15.575,-0.315)],
  [(9.365,-7.325),(3.915,-7.325),(3.915,-0.985),(4.585,-0.985),(4.585,-6.655),(8.695,-6.655),(8.695,-0.985),(4.585,-0.985),(3.915,-0.985),(3.915,-0.315),(9.365,-0.315)])
A(cdac_sw_471429cf, npc, -0.9, -1.76, 0.37, 0.37, 3, 2, 0.5, 3.28)
A(cdac_sw_471429cf, npc, 5.955, -1.76, 0.37, 0.37, 3, 2, 0.5, 3.28)
A(cdac_sw_471429cf, npc, 12.165, -1.76, 0.37, 0.37, 3, 1, 0.5, 0)
R(cdac_sw_471429cf, npc, [(-0.9,-1.76,-0.03,-1.39), (-0.9,-1.76,-0.03,-1.39), (-0.4,-1.76,0.47,-1.39), (-0.4,-1.76,0.47,-1.39), (5.955,-1.76,6.825,-1.39), (5.955,-1.76,6.825,-1.39), (6.455,-1.76,7.325,-1.39), (6.455,-1.76,7.325,-1.39), (12.165,-1.76,13.035,-1.39), (12.165,-1.76,13.035,-1.39), (12.665,-1.76,13.535,-1.39), (12.665,-1.76,13.535,-1.39), (-0.9,1.52,-0.03,1.89), (-0.9,1.52,-0.03,1.89), (-0.4,1.52,0.47,1.89), (-0.4,1.52,0.47,1.89), (5.955,1.52,6.825,1.89), (5.955,1.52,6.825,1.89), (6.455,1.52,7.325,1.89), (6.455,1.52,7.325,1.89)])
cdac_sw_471429cf.add(gdstk.Label('VSS', (-2.52,-6.99), layer=68, texttype=5))
cdac_sw_471429cf.add(gdstk.Label('VDD', (-2.39,6.99), layer=68, texttype=5))
cdac_sw_471429cf.add(gdstk.Label('INV_Y', (3,0.13), layer=68, texttype=5))
cdac_sw_471429cf.add(gdstk.Label('VCTRL', (-3,0.13), layer=68, texttype=5))
cdac_sw_471429cf.add(gdstk.Label('VOUT', (5.315,-6.085), layer=68, texttype=5))
cdac_sw_471429cf.add(gdstk.Label('VIN', (5.315,-5.655), layer=68, texttype=5))

lib.write_gds('cdac_sw_471429cf.gds')
